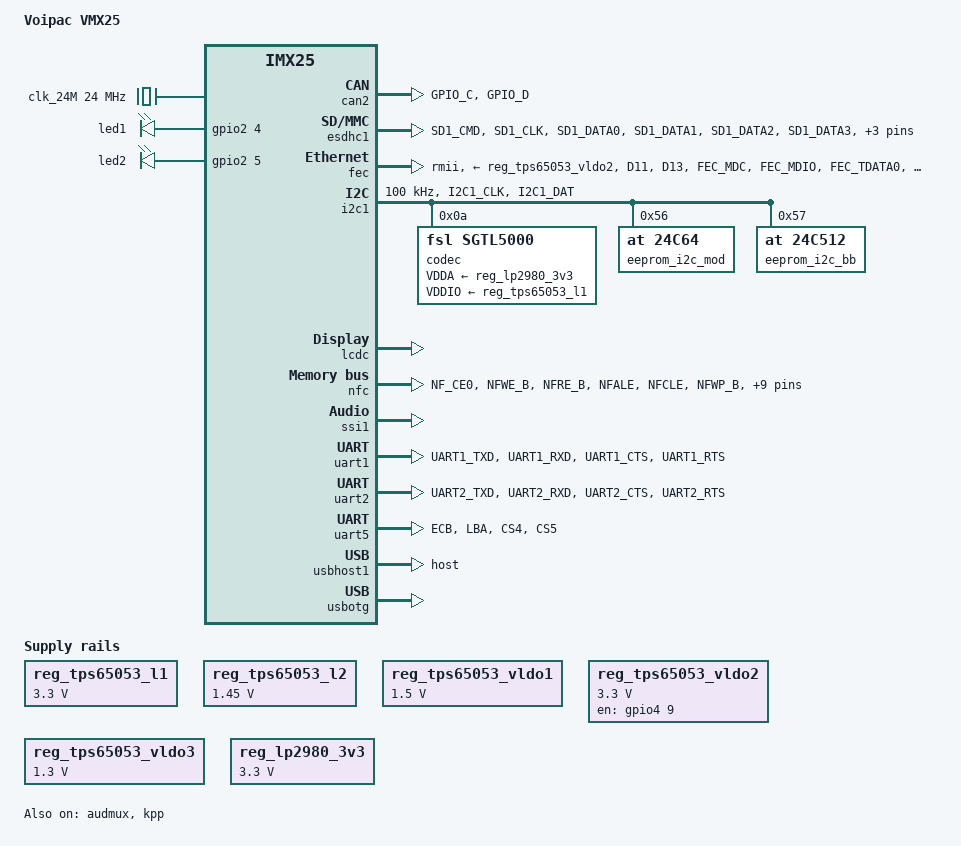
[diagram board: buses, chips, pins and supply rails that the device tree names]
/*
 * Copyright (C) 2014-2018 Voipac.
 *
 * The code contained herein is licensed under the GNU General Public
 * License. You may obtain a copy of the GNU General Public License
 * Version 2 or later at the following locations:
 *
 * http://www.opensource.org/licenses/gpl-license.html
 * http://www.gnu.org/copyleft/gpl.html
 */

/dts-v1/;
#include <dt-bindings/gpio/gpio.h>
#include <dt-bindings/input/input.h>
#include "imx25.dtsi"

/ {
	model = "Voipac VMX25";
	compatible = "voipac,imx25-vmx25", "fsl,imx25";

	chosen {
		stdout-path = &uart1;
	};

	clocks {
		clk_24M: codec_clock {
			compatible = "fixed-clock";
			reg=<0>;
			#clock-cells = <0>;
			clock-frequency = <24000000>;
		};
	};

	display: display {
		model = "DVI-SVGA";
		bits-per-pixel = <16>;
		fsl,pcr = <0xfa208b80>;
		bus-width = <18>;
		native-mode = <&dvi_svga_timings>;
		display-timings {
			dvi_svga_timings: 800x600 {
				clock-frequency = <40000000>;
				hactive = <800>;
				vactive = <600>;
				hback-porch = <75>;
				hfront-porch = <75>;
				vback-porch = <7>;
				vfront-porch = <75>;
				hsync-len = <7>;
				vsync-len = <7>;
			};
		};
	};
/*
	memory {
		reg = <0x80000000 0x02000000 0x90000000 0x02000000>;
	};
*/
	leds {
		compatible = "gpio-leds";
		pinctrl-names = "default";
		pinctrl-0 = <&pinctrl_led>;

		led1 {
			label = "led1";
			gpios = <&gpio2 4 GPIO_ACTIVE_HIGH>;
			linux,default-trigger = "heartbeat";
		};

		led2 {
			label = "led2";
			gpios = <&gpio2 5 GPIO_ACTIVE_HIGH>;
			linux,default-trigger = "default-on";
		};
	};

	regulators {
		compatible = "simple-bus";
		#address-cells = <1>;
		#size-cells = <0>;

		reg_tps65053_l1: tps65053-3v3 {
			compatible = "regulator-fixed";
			regulator-name = "module-3v3-vio";
			regulator-min-microvolt = <3300000>;
			regulator-max-microvolt = <3300000>;
			regulator-boot-on;
			regulator-always-on;
		};

		reg_tps65053_l2: tps65053-qvdd {
			compatible = "regulator-fixed";
			regulator-name = "module-qvdd";
			regulator-min-microvolt = <1450000>;
			regulator-max-microvolt = <1450000>;
			regulator-boot-on;
			regulator-always-on;
		};

		reg_tps65053_vldo1: tps65053-1v5 {
			compatible = "regulator-fixed";
			regulator-name = "module-1v5";
			regulator-min-microvolt = <1500000>;
			regulator-max-microvolt = <1500000>;
			regulator-boot-on;
			regulator-always-on;
		};

		reg_tps65053_vldo2: tps65053-fec-3v3 {
			compatible = "regulator-fixed";
			regulator-name = "module-fec-phy";
			regulator-min-microvolt = <3300000>;
			regulator-max-microvolt = <3300000>;
			gpio = <&gpio4 9 0>;
			enable-active-high;
		};

		reg_tps65053_vldo3: tps65053-vbackup {
			compatible = "regulator-fixed";
			regulator-name = "module-vbackup-1v3";
			regulator-min-microvolt = <1300000>;
			regulator-max-microvolt = <1300000>;
			regulator-boot-on;
			regulator-always-on;
		};

		reg_lp2980_3v3: lp2980-vdda {
			compatible = "regulator-fixed";
			regulator-name = "bb-vdda-3v3";
			regulator-min-microvolt = <3300000>;
			regulator-max-microvolt = <3300000>;
			regulator-boot-on;
			regulator-always-on;
		};
	};

	sound {		
		compatible = "fsl,imx25-vmx25-sgtl5000",
			     "fsl,imx-audio-sgtl5000";
		model = "imx25-vmx25-sgtl5000";
		ssi-controller = <&ssi1>;
		audio-codec = <&codec>;
		audio-routing =
			"MIC_IN", "Mic Jack",
			"Mic Jack", "Mic Bias",
			"Headphone Jack", "HP_OUT";
		mux-int-port = <1>;
		mux-ext-port = <4>;
	};
};

&audmux {
	pinctrl-names = "default";
	pinctrl-0 = <&pinctrl_audmux>;
	status = "okay";
};

&can2 {
	pinctrl-names = "default";
	pinctrl-0 = <&pinctrl_can2>;
	status = "okay";
};

&esdhc1 {
	pinctrl-names = "default";
	pinctrl-0 = <&pinctrl_esdhc1>;
	cd-gpios = <&gpio1 20>;
	status = "okay";
};

&esdhc1 {
	pinctrl-names = "default";
	pinctrl-0 = <&pinctrl_esdhc1>;
	/*cd-gpios = <&gpio4 4>;*/
	status = "okay";
};

&fec {
	pinctrl-names = "default";
	pinctrl-0 = <&pinctrl_fec>;
	phy-reset-gpios = <&gpio4 7 GPIO_ACTIVE_LOW>;
	phy-mode = "rmii";
	phy-supply = <&reg_tps65053_vldo2>;
	status = "okay";
};


&iomuxc {
	pinctrl_audmux: audmuxgrp {
		fsl,pins = <
			MX25_PAD_RW__AUD4_TXFS		0xE0
			MX25_PAD_OE__AUD4_TXC		0xE0
			MX25_PAD_EB0__AUD4_TXD		0xE0
			MX25_PAD_EB1__AUD4_RXD		0xE0
		>;
	};

	pinctrl_can2: can2grp {
		fsl,pins = <
			MX25_PAD_GPIO_C__CAN2_TX	0x0
			MX25_PAD_GPIO_D__CAN2_RX	0x0
		>;
	};

	pinctrl_esdhc1: esdhc1grp {
		fsl,pins = <
			MX25_PAD_SD1_CMD__SD1_CMD	0x00D5
			MX25_PAD_SD1_CLK__SD1_CLK	0x00D5
			MX25_PAD_SD1_DATA0__SD1_DATA0	0x00D5
			MX25_PAD_SD1_DATA1__SD1_DATA1	0x00D5
			MX25_PAD_SD1_DATA2__SD1_DATA2	0x00D5
			MX25_PAD_SD1_DATA3__SD1_DATA3	0x00D5
			MX25_PAD_BCLK__GPIO_4_4		0x80000000 /* card detect GPIO */
			MX25_PAD_D10__GPIO_4_10		0x80000000 /* SD CLK switch GPIO */
		>;
	};

	pinctrl_fec: fecgrp {
		fsl,pins = <
			MX25_PAD_D11__GPIO_4_9		0xD0 /* FEC PHY power on pin */
			MX25_PAD_D13__GPIO_4_7		0xD0 /* FEC reset */
			MX25_PAD_FEC_MDC__FEC_MDC	0x80000000
			MX25_PAD_FEC_MDIO__FEC_MDIO	0x80000000
			MX25_PAD_FEC_TDATA0__FEC_TDATA0	0x80000000
			MX25_PAD_FEC_TDATA1__FEC_TDATA1	0x80000000
			MX25_PAD_FEC_TX_EN__FEC_TX_EN	0x80000000
			MX25_PAD_FEC_RDATA0__FEC_RDATA0	0x80000000
			MX25_PAD_FEC_RDATA1__FEC_RDATA1	0x80000000
			MX25_PAD_FEC_RX_DV__FEC_RX_DV	0x80000000
			MX25_PAD_FEC_TX_CLK__FEC_TX_CLK	0x80000000
		>;
	};

	pinctrl_i2c1: i2c1grp {
		fsl,pins = <
			MX25_PAD_I2C1_CLK__I2C1_CLK	0x80000000
			MX25_PAD_I2C1_DAT__I2C1_DAT	0x80000000
		>;
	};

	pinctrl_kpp: kppgrp {
		fsl,pins = <
			MX25_PAD_KPP_ROW0__KPP_ROW0	0x80000000
			MX25_PAD_KPP_ROW1__KPP_ROW1	0x80000000
			MX25_PAD_KPP_ROW2__KPP_ROW2	0x80000000
			MX25_PAD_KPP_ROW3__KPP_ROW3	0x80000000
			MX25_PAD_KPP_COL0__KPP_COL0	0x80000000
			MX25_PAD_KPP_COL1__KPP_COL1	0x80000000
			MX25_PAD_KPP_COL2__KPP_COL2	0x80000000
			MX25_PAD_KPP_COL3__KPP_COL3	0x80000000
		>;
	};

	pinctrl_lcd: lcdgrp {
		fsl,pins = <
			MX25_PAD_LD0__LD0		0xe0
			MX25_PAD_LD1__LD1		0xe0
			MX25_PAD_LD2__LD2		0xe0
			MX25_PAD_LD3__LD3		0xe0
			MX25_PAD_LD4__LD4		0xe0
			MX25_PAD_LD5__LD5		0xe0
			MX25_PAD_LD6__LD6		0xe0
			MX25_PAD_LD7__LD7		0xe0
			MX25_PAD_LD8__LD8		0xe0
			MX25_PAD_LD9__LD9		0xe0
			MX25_PAD_LD10__LD10		0xe0
			MX25_PAD_LD11__LD11		0xe0
			MX25_PAD_LD12__LD12		0xe0
			MX25_PAD_LD13__LD13		0xe0
			MX25_PAD_LD14__LD14		0xe0
			MX25_PAD_LD15__LD15		0xe0
			MX25_PAD_D15__LD16		0xe0
			MX25_PAD_D14__LD17		0xe0
			MX25_PAD_HSYNC__HSYNC		0xe0
			MX25_PAD_VSYNC__VSYNC		0xe0
			MX25_PAD_LSCLK__LSCLK		0xe0
			MX25_PAD_OE_ACD__OE_ACD		0xe0
			MX25_PAD_CONTRAST__CONTRAST	0xe0
		>;
	};

	pinctrl_led: ledgrp {
		fsl,pins = <
			MX25_PAD_A18__GPIO_2_4		0xC0
			MX25_PAD_A19__GPIO_2_5		0xC0
		>;
	};

	pinctrl_nfc: nfcgrp {
		fsl,pins = <
			MX25_PAD_NF_CE0__NF_CE0		0x80000000
			MX25_PAD_NFWE_B__NFWE_B		0x80000000
			MX25_PAD_NFRE_B__NFRE_B		0x80000000
			MX25_PAD_NFALE__NFALE		0x80000000
			MX25_PAD_NFCLE__NFCLE		0x80000000
			MX25_PAD_NFWP_B__NFWP_B		0x80000000
			MX25_PAD_NFRB__NFRB		0x80000000
			MX25_PAD_D7__D7			0x80000000
			MX25_PAD_D6__D6			0x80000000
			MX25_PAD_D5__D5			0x80000000
			MX25_PAD_D4__D4			0x80000000
			MX25_PAD_D3__D3			0x80000000
			MX25_PAD_D2__D2			0x80000000
			MX25_PAD_D1__D1			0x80000000
			MX25_PAD_D0__D0			0x80000000
		>;
	};

	pinctrl_uart1: uart1grp {
		fsl,pins = <
			MX25_PAD_UART1_TXD__UART1_TXD	0x80000000
			MX25_PAD_UART1_RXD__UART1_RXD	0x80000000
			MX25_PAD_UART1_CTS__UART1_CTS	0x80000000
			MX25_PAD_UART1_RTS__UART1_RTS	0x80000000
		>;
	};

	pinctrl_uart2: uart2grp {
		fsl,pins = <
			MX25_PAD_UART2_TXD__UART2_TXD	0x80000000
			MX25_PAD_UART2_RXD__UART2_RXD	0x80000000
			MX25_PAD_UART2_CTS__UART2_CTS	0x80000000
			MX25_PAD_UART2_RTS__UART2_RTS	0x80000000
		>;
	};

	pinctrl_uart5: uart5grp {
		fsl,pins = <
			MX25_PAD_ECB__UART5_TXD		0x80000000
			MX25_PAD_LBA__UART5_RXD		0x80000000
			MX25_PAD_CS4__UART5_CTS		0x80000000
			MX25_PAD_CS5__UART5_RTS		0x80000000
		>;
	};
};

&i2c1 {
	clock-frequency = <100000>;
	pinctrl-names = "default";
	pinctrl-0 = <&pinctrl_i2c1>;
	status = "okay";

	codec: sgtl5000@0a {
		compatible = "fsl,sgtl5000";
		reg = <0x0a>;
		clocks = <&clks 1>;
		VDDA-supply = <&reg_lp2980_3v3>;
		VDDIO-supply = <&reg_tps65053_l1>;
	};

        eeprom_i2c_mod: at24c64@56 {
                compatible = "at,24c64";
                pagesize = <32>;
                reg = <0x56>;
        };

        eeprom_i2c_bb: at24c512@57 {
                compatible = "at,24c512";
                pagesize = <128>;
                reg = <0x57>;
        };
};

&kpp {
	pinctrl-names = "default";
	pinctrl-0 = <&pinctrl_kpp>;
	linux,keymap = <
			MATRIX_KEY(0x0, 0x1, KEY_HOME)
			MATRIX_KEY(0x0, 0x3, KEY_BACK)
			MATRIX_KEY(0x2, 0x1, KEY_VOLUMEDOWN)
			MATRIX_KEY(0x2, 0x3, KEY_VOLUMEUP)
	>;
	status = "okay";
};

&lcdc {
	display = <&display>;
	status = "okay";
};

&nfc {
	pinctrl-names = "default";
	pinctrl-0 = <&pinctrl_nfc>;
	nand-on-flash-bbt;
	nand-ecc-mode = "hw";
	nand-bus-width = <8>;
	status = "okay";
};

&ssi1 {
	codec-handle = <&codec>;
	fsl,mode = "i2s-slave";
	status = "okay";
};

&uart1 {
	pinctrl-names = "default";
	pinctrl-0 = <&pinctrl_uart1>;
	status = "okay";
};

&uart2 {
	pinctrl-names = "default";
	pinctrl-0 = <&pinctrl_uart2>;
	status = "okay";
};

&uart5 {
	pinctrl-names = "default";
	pinctrl-0 = <&pinctrl_uart5>;
	status = "okay";
};

&usbhost1 {
	phy_type = "serial";
	dr_mode = "host";
	status = "okay";
};

&usbotg {
	/*external-vbus-divider;*/
	status = "okay";
};
